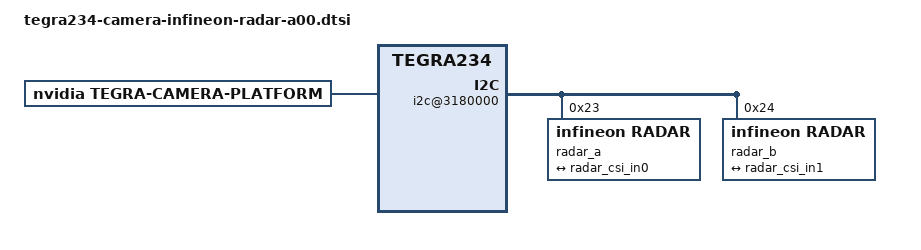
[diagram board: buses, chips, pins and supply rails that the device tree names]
/*
 * Copyright (c) 2022-2023, Leopardimaging CORPORATION.
 * Based Copyright (c) 2018, NVIDIA CORPORATION.  All rights reserved.
 *
 * This program is free software; you can redistribute it and/or modify
 * it under the terms of the GNU General Public License as published by
 * the Free Software Foundation; either version 2 of the License, or
 * (at your option) any later version.
 *
 * This program is distributed in the hope that it will be useful, but WITHOUT
 * ANY WARRANTY; without even the implied warranty of MERCHANTABILITY or
 * FITNESS FOR A PARTICULAR PURPOSE.  See the GNU General Public License for
 * more details.
 *
 * You should have received a copy of the GNU General Public License
 * along with this program.  If not, see <http://www.gnu.org/licenses/>.
 */

/ {
	tegra-capture-vi {
			num-channels = <2>;
			ports {
				#address-cells = <1>;
				#size-cells = <0>;
				port@0 {
					reg = <0>;
					radar_vi_in0: endpoint {
						port-index = <0>;
						bus-width = <4>;
						vc-id = <0>;
						remote-endpoint = <&radar_csi_out0>;
					};
				};
				port@1 {
					reg = <1>;
					radar_vi_in1: endpoint {
						port-index = <2>;
						bus-width = <4>;
						vc-id = <0>;
						remote-endpoint = <&radar_csi_out1>;
					};
				};
			};
		};
	host1x@13e00000 {
		nvcsi@15a00000 {
			num-channels = <2>;
			#address-cells = <1>;
			#size-cells = <0>;
			channel@0 {
				reg = <0>;
				ports {
					#address-cells = <1>;
					#size-cells = <0>;
					port@0 {
						reg = <0>;
						radar_csi_in0: endpoint@0 {
							port-index = <0>;
							bus-width = <4>;
							remote-endpoint = <&radar_out0>;
						};
					};
					port@1 {
						reg = <1>;
						radar_csi_out0: endpoint@1 {
							remote-endpoint = <&radar_vi_in0>;
						};
					};
				};
			};
			channel@1 {
				reg = <1>;
				ports {
					#address-cells = <1>;
					#size-cells = <0>;
					port@0 {
						reg = <0>;
						radar_csi_in1: endpoint@0 {
							port-index = <2>;
							bus-width = <4>;
							remote-endpoint = <&radar_out1>;
						};
					};
					port@1 {
						reg = <1>;
						radar_csi_out1: endpoint@1 {
							remote-endpoint = <&radar_vi_in1>;
						};
					};
				};
			};
		};
	};

	i2c@3180000 {
		radar_a@23 {
			compatible = "infineon,radar";

			reg = <0x23>;
			devnode = "video0";

			/* Physical dimensions of sensor */
			physical_w = "15.0";
			physical_h = "12.5";

			sensor_model ="radar";
			/* Define any required hw resources needed by driver */
			/* ie. clocks, io pins, power sources */

			/* Defines number of frames to be dropped by driver internally after applying */
			/* sensor crop settings. Some sensors send corrupt frames after applying */
			/* crop co-ordinates */
			post_crop_frame_drop = "0";

			/* Convert Gain to unit of dB (decibel) befor passing to kernel driver */
			use_decibel_gain = "true";

			/* if true, delay gain setting by one frame to be in sync with exposure */
			delayed_gain = "true";

			/* disable CID_SENSOR_MODE_ID for sensor modes selection */
			/* by setting to false -> enable setting width and height over v4l2ctl */
			use_sensor_mode_id = "false";

			#include "tegra234-camera-infineon-radar-a00-modes.dtsi"

			ports {
				#address-cells = <1>;
				#size-cells = <0>;
				port@0 {
					reg = <0>;
					radar_out0: endpoint {
						port-index = <0>;
						bus-width = <4>;
						vc-id = <0>;
						remote-endpoint = <&radar_csi_in0>;
					};
				};
			};
		};
		radar_b@24 {
			compatible = "infineon,radar";

			reg = <0x24>;
			devnode = "video1";

			/* Physical dimensions of sensor */
			physical_w = "15.0";
			physical_h = "12.5";

			sensor_model ="radar";
			/* Define any required hw resources needed by driver */
			/* ie. clocks, io pins, power sources */

			/* Defines number of frames to be dropped by driver internally after applying */
			/* sensor crop settings. Some sensors send corrupt frames after applying */
			/* crop co-ordinates */
			post_crop_frame_drop = "0";

			/* Convert Gain to unit of dB (decibel) befor passing to kernel driver */
			use_decibel_gain = "true";

			/* if true, delay gain setting by one frame to be in sync with exposure */
			delayed_gain = "true";

			/* disable CID_SENSOR_MODE_ID for sensor modes selection */
			/* by setting to false -> enable setting width and height over v4l2ctl */
			use_sensor_mode_id = "false";

			#include "tegra234-camera-infineon-radar-a00-modes.dtsi"

			ports {
				#address-cells = <1>;
				#size-cells = <0>;
				port@0 {
					reg = <0>;
					radar_out1: endpoint {
						port-index = <2>;
						bus-width = <4>;
						vc-id = <0>;
						remote-endpoint = <&radar_csi_in1>;
					};
				};
			};
		};	
	};
};
/ {

	tegra-camera-platform {
		compatible = "nvidia, tegra-camera-platform";
		/**
		* Physical settings to calculate max ISO BW
		*
		* num_csi_lanes = <>;
		* Total number of CSI lanes when all cameras are active
		*
		* max_lane_speed = <>;
		* Max lane speed in Kbit/s
		*
		* min_bits_per_pixel = <>;
		* Min bits per pixel
		*
		* vi_peak_byte_per_pixel = <>;
		* Max byte per pixel for the VI ISO case
		*
		* vi_bw_margin_pct = <>;
		* Vi bandwidth margin in percentage
		*
		* max_pixel_rate = <>;
		* Max pixel rate in Kpixel/s for the ISP ISO case
		*
		* isp_peak_byte_per_pixel = <>;
		* Max byte per pixel for the ISP ISO case
		*
		* isp_bw_margin_pct = <>;
		* Isp bandwidth margin in percentage
		*/
		num_csi_lanes = <8>;
		max_lane_speed = <1500000>;
		min_bits_per_pixel = <10>;
		vi_peak_byte_per_pixel = <2>;
		vi_bw_margin_pct = <25>;
		isp_peak_byte_per_pixel = <5>;
		isp_bw_margin_pct = <25>;

		/**
		 * The general guideline for naming badge_info contains 3 parts, and is as follows,
		 * The first part is the camera_board_id for the module; if the module is in a FFD
		 * platform, then use the platform name for this part.
		 * The second part contains the position of the module, ex. "rear" or "front".
		 * The third part contains the last 6 characters of a part number which is found
		 * in the module's specsheet from the vender.
		 */
		modules {
			module0 {
				badge = "radar_bottomleft";
				position = "bottomleft";
				orientation = "0";
				drivernode0 {
					/* Declare PCL support driver (classically known as guid)  */
					pcl_id = "v4l2_sensor";
					/* Driver v4l2 device name */
					devname = "radar 2-0023";
					/* Declare the device-tree hierarchy to driver instance */
					proc-device-tree = "/proc/device-tree/i2c@3180000/radar_a@23";
				};
			};
			module1 {
				badge = "radar_bottomright";
				position = "bottomright";
				orientation = "0";
				drivernode0 {
					/* Declare PCL support driver (classically known as guid)  */
					pcl_id = "v4l2_sensor";
					/* Driver v4l2 device name */
					devname = "radar 2-0024";
					/* Declare the device-tree hierarchy to driver instance */
					proc-device-tree = "/proc/device-tree/i2c@3180000/radar_b@24";
				};
			};
		};
	};
};
